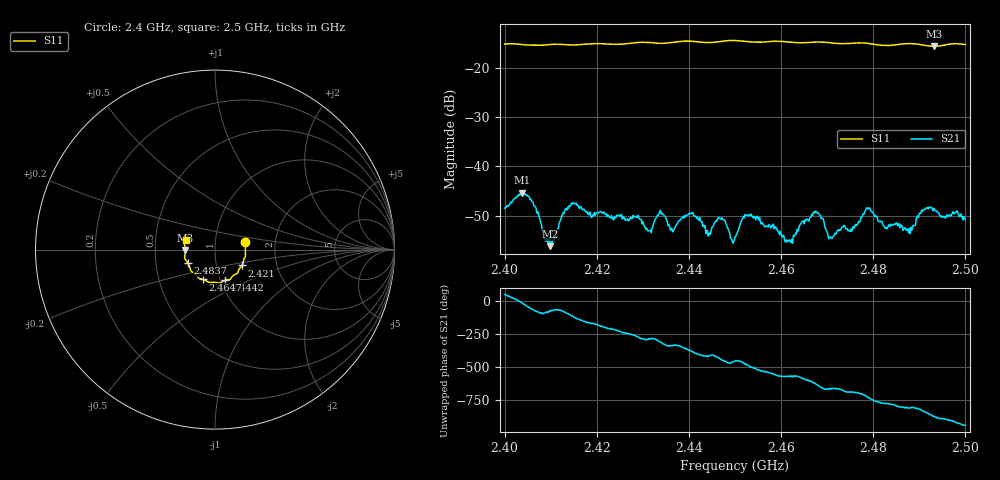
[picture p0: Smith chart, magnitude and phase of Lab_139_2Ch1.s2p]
# Hz S RI R 50
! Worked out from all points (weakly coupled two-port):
!   601 points, 2.4 GHz to 2.5 GHz, reference 50 ohm
!   highest |S21| = -45.34 dB at 2.4038 GHz (marker M1); lowest = -56.2 dB at 2.4098 GHz (marker M2)
!   lowest |S11| = -15.6 dB at 2.4932 GHz (marker M3), VSWR 1.40, Z = 35.8 - j0.104 ohm
!   |S11| at or under -10 dB: start of sweep to end of sweep
!   S12 and S22 are empty: the file has one direction only
!   S11 on the Smith chart (normalised r, x): 2.4 GHz: 1.40, +0.12; 2.421 GHz: 1.33, -0.24; 2.4442 GHz: 1.05, -0.37; 2.4647 GHz: 0.83, -0.28; 2.4837 GHz: 0.73, -0.11; 2.5 GHz: 0.71, +0.08
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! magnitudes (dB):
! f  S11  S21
! 2.4 GHz  -15.2  -48.5
! 2.4038 GHz  -15.3  -45.3
! 2.4098 GHz  -15.3  -56.2
! 2.4135 GHz  -15.3  -48.8
! 2.4167 GHz  -15.3  -48.5
! 2.421 GHz  -15.1  -49.2
! 2.4313 GHz  -14.9  -53.0
! 2.4333 GHz  -15.0  -49.9
! 2.4405 GHz  -14.6  -49.5
! 2.4442 GHz  -14.9  -54.1
! 2.4468 GHz  -14.7  -50.5
! 2.45 GHz  -14.5  -54.3
! 2.4527 GHz  -14.7  -49.8
! 2.4613 GHz  -14.7  -55.3
! 2.4647 GHz  -14.9  -51.1
! 2.4667 GHz  -14.8  -49.7
! 2.4708 GHz  -14.9  -54.4
! 2.4788 GHz  -15.1  -48.6
! 2.4833 GHz  -15.5  -51.8
! 2.4837 GHz  -15.5  -52.1
! 2.4932 GHz  -15.6  -48.5
! 2.5 GHz  -15.3  -50.8
